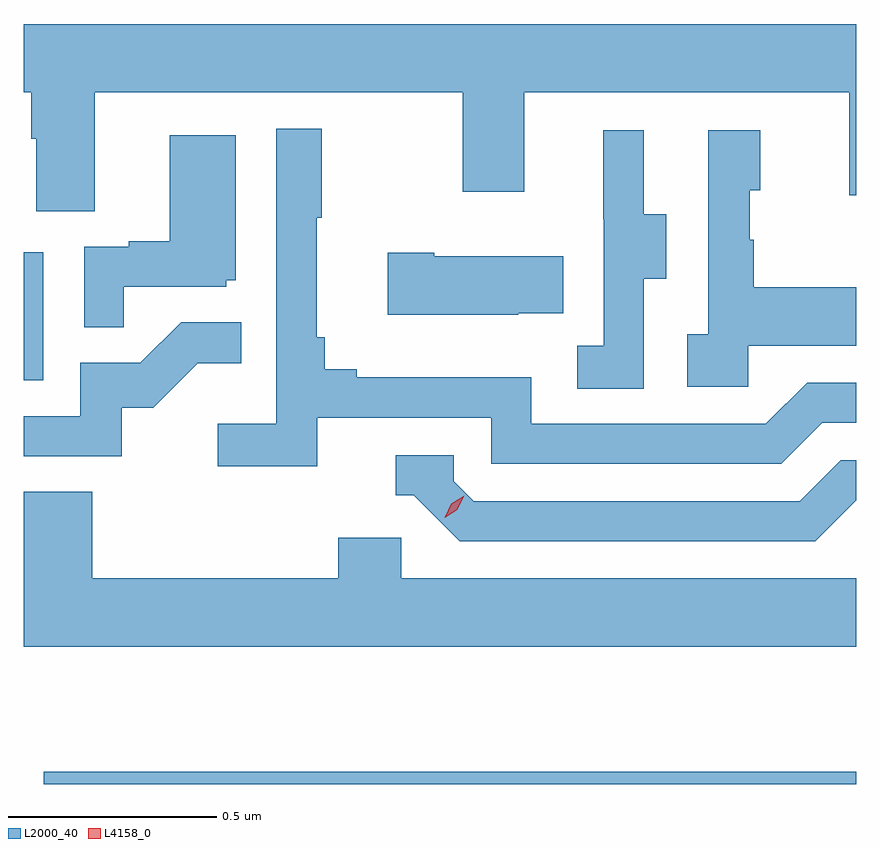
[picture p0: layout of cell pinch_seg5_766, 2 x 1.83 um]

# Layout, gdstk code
import gdstk
lib = gdstk.Library(unit=1e-6, precision=1e-09)
def R(c, l, rs):  # rectangles x0, y0, x1, y1
    for r in rs: c.add(gdstk.rectangle(r[:2], r[2:], *l))
def P(c, l, *ps):  # polygons
    for p in ps: c.add(gdstk.Polygon(p, *l))
L2000_40 = (2000, 40)
L4158_0 = (4158, 0)

pinch_seg5_766 = lib.new_cell('pinch_seg5_766')
R(pinch_seg5_766, L2000_40, [(825.047,908.378,826.999,908.407), (824.999,909.348,825.046,909.655)])
P(pinch_seg5_766, L2000_40, [(825.169,910.04),(826.054,910.04),(826.054,909.801),(826.201,909.801),(826.201,910.04),(826.982,910.04),(826.982,909.792),(826.999,909.792),(826.999,910.204),(824.999,910.204),(824.999,910.04),(825.017,910.04),(825.017,909.928),(825.029,909.928),(825.029,909.754),(825.169,909.754)],
  [(825.704,909.258),(826.122,909.258),(826.122,909.147),(826.819,909.147),(826.918,909.246),(826.999,909.246),(826.999,909.342),(826.881,909.342),(826.782,909.243),(826.218,909.243),(826.218,909.355),(825.799,909.355),(825.799,909.374),(825.722,909.374),(825.722,909.451),(825.703,909.451),(825.703,909.739),(825.715,909.739),(825.715,909.952),(825.606,909.952),(825.606,909.244),(825.465,909.244),(825.465,909.142),(825.704,909.142)],
  [(826.488,909.592),(826.543,909.592),(826.543,909.747),(826.489,909.747),(826.489,909.949),(826.391,909.949),(826.391,909.735),(826.392,909.735),(826.392,909.431),(826.329,909.431),(826.329,909.328),(826.488,909.328)],
  [(826.74,909.431),(826.999,909.431),(826.999,909.571),(826.753,909.571),(826.753,909.686),(826.743,909.686),(826.743,909.804),(826.768,909.804),(826.768,909.949),(826.644,909.949),(826.644,909.458),(826.593,909.458),(826.593,909.333),(826.74,909.333)],
  [(825.239,909.573),(825.486,909.573),(825.486,909.588),(825.508,909.588),(825.508,909.937),(825.35,909.937),(825.35,909.682),(825.251,909.682),(825.251,909.669),(825.144,909.669),(825.144,909.475),(825.239,909.475)],
  [(826.187,909.509),(826.295,909.509),(826.295,909.646),(825.985,909.646),(825.985,909.654),(825.873,909.654),(825.873,909.506),(826.187,909.506)],
  [(825.234,909.282),(825.31,909.282),(825.417,909.389),(825.521,909.389),(825.521,909.488),(825.377,909.488),(825.279,909.39),(825.135,909.39),(825.135,909.261),(824.999,909.261),(824.999,909.165),(825.234,909.165)],
  [(826.999,909.06),(826.999,909.156),(826.962,909.156),(826.863,909.057),(826.08,909.057),(826.032,909.105),(826.032,909.168),(825.893,909.168),(825.893,909.072),(825.936,909.072),(826.047,908.961),(826.9,908.961)],
  [(826.999,908.872),(825.906,908.872),(825.906,908.97),(825.755,908.97),(825.755,908.872),(825.164,908.872),(825.164,909.08),(824.999,909.08),(824.999,908.708),(826.999,908.708)])
P(pinch_seg5_766, L4158_0, [(826.01,909.018),(826.01,909.018),(826.026,909.051),(826.057,909.07),(826.057,909.07),(826.057,909.07),(826.041,909.037),(826.01,909.018)])

lib.write_gds('pinch_seg5_766.gds')
